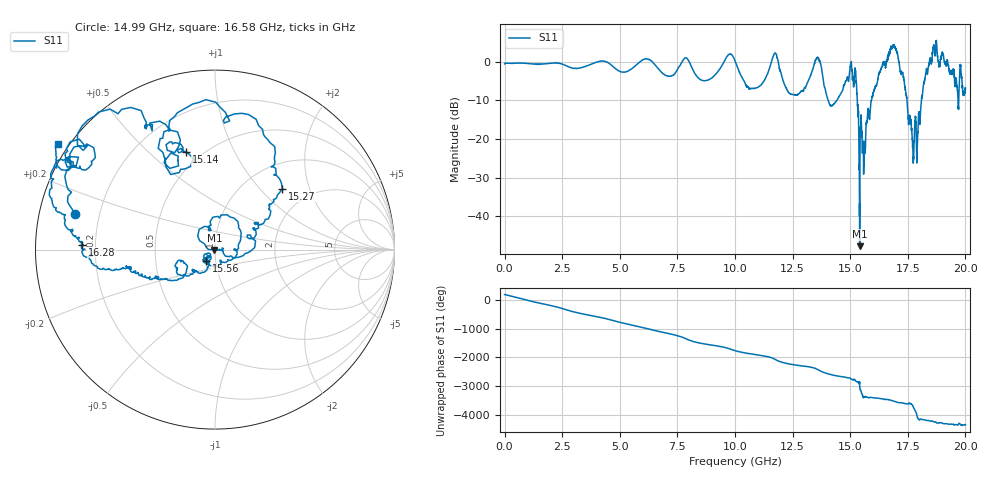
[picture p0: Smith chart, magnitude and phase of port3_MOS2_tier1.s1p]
! Created with skrf 1.8.0 (http://scikit-rf.org).
# GHz S RI R 50.0
!freq ReS11 ImS11
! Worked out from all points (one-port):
!   10000 points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, 3 MHz to 20 GHz, reference 50 ohm
!   lowest |S11| = -47.8 dB at 15.41 GHz (marker M1), VSWR 1.01, Z = 49.7 - j0.271 ohm
!   |S11| at or under -10 dB: 14.04 GHz to 14.42 GHz (376.1 MHz wide, 2.64 % of centre); 15.31 GHz to 15.92 GHz (611.4 MHz wide, 3.92 % of centre); 17.47 GHz to 18.09 GHz (621.6 MHz wide, 3.5 % of centre) (the widest 3 of 4)
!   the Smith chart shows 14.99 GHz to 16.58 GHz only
!   S11 on the Smith chart (normalised r, x): 14.99 GHz: 0.11, +0.12; 15.14 GHz: 0.41, +0.66; 15.27 GHz: 1.47, +1.34; 15.56 GHz: 0.90, -0.12; 16.28 GHz: 0.15, +0.02; 16.58 GHz: -0.03, +0.30
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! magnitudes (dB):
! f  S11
! 3 MHz  -0.5
! 2.503 GHz  -0.6
! 5.003 GHz  -2.5
! 6.135 GHz  0.8
! 7.503 GHz  -2.1
! 7.891 GHz  1.0
! 8.739 GHz  -4.8
! 10 GHz  0.3
! 10.86 GHz  -6.8
! 11.75 GHz  2.3
! 12.5 GHz  -8.5
! 13 GHz  -6.8
! 13.59 GHz  1.1
! 14.22 GHz  -11.4
! 14.99 GHz  -1.9
! 15 GHz  -1.2
! 15.14 GHz  -4.9
! 15.27 GHz  -5.9
! 15.41 GHz  -47.8
! 15.56 GHz  -21.7
! 16.28 GHz  -2.6
! 16.58 GHz  0.5
! 16.97 GHz  3.4
! 17.5 GHz  -13.1
! 17.82 GHz  -15.2
! 18.24 GHz  -4.4
! 18.67 GHz  2.4
! 20 GHz  -6.8
